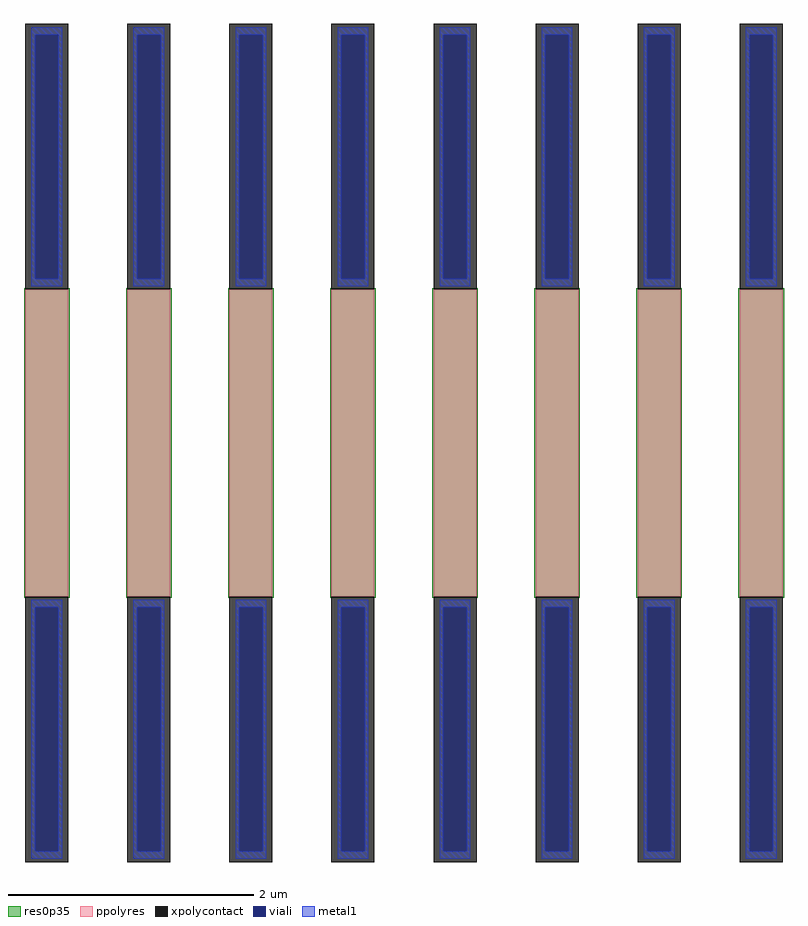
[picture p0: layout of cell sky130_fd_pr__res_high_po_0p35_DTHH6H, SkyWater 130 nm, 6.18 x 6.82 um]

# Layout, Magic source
magic
tech sky130A
magscale 1 2
<< xpolycontact >>
rect -616 250 -546 682
rect -616 -682 -546 -250
rect -450 250 -380 682
rect -450 -682 -380 -250
rect -284 250 -214 682
rect -284 -682 -214 -250
rect -118 250 -48 682
rect -118 -682 -48 -250
rect 48 250 118 682
rect 48 -682 118 -250
rect 214 250 284 682
rect 214 -682 284 -250
rect 380 250 450 682
rect 380 -682 450 -250
rect 546 250 616 682
rect 546 -682 616 -250
<< ppolyres >>
rect -616 -250 -546 250
rect -450 -250 -380 250
rect -284 -250 -214 250
rect -118 -250 -48 250
rect 48 -250 118 250
rect 214 -250 284 250
rect 380 -250 450 250
rect 546 -250 616 250
<< viali >>
rect -600 267 -562 664
rect -434 267 -396 664
rect -268 267 -230 664
rect -102 267 -64 664
rect 64 267 102 664
rect 230 267 268 664
rect 396 267 434 664
rect 562 267 600 664
rect -600 -664 -562 -267
rect -434 -664 -396 -267
rect -268 -664 -230 -267
rect -102 -664 -64 -267
rect 64 -664 102 -267
rect 230 -664 268 -267
rect 396 -664 434 -267
rect 562 -664 600 -267
<< metal1 >>
rect -606 664 -556 676
rect -606 267 -600 664
rect -562 267 -556 664
rect -606 255 -556 267
rect -440 664 -390 676
rect -440 267 -434 664
rect -396 267 -390 664
rect -440 255 -390 267
rect -274 664 -224 676
rect -274 267 -268 664
rect -230 267 -224 664
rect -274 255 -224 267
rect -108 664 -58 676
rect -108 267 -102 664
rect -64 267 -58 664
rect -108 255 -58 267
rect 58 664 108 676
rect 58 267 64 664
rect 102 267 108 664
rect 58 255 108 267
rect 224 664 274 676
rect 224 267 230 664
rect 268 267 274 664
rect 224 255 274 267
rect 390 664 440 676
rect 390 267 396 664
rect 434 267 440 664
rect 390 255 440 267
rect 556 664 606 676
rect 556 267 562 664
rect 600 267 606 664
rect 556 255 606 267
rect -606 -267 -556 -255
rect -606 -664 -600 -267
rect -562 -664 -556 -267
rect -606 -676 -556 -664
rect -440 -267 -390 -255
rect -440 -664 -434 -267
rect -396 -664 -390 -267
rect -440 -676 -390 -664
rect -274 -267 -224 -255
rect -274 -664 -268 -267
rect -230 -664 -224 -267
rect -274 -676 -224 -664
rect -108 -267 -58 -255
rect -108 -664 -102 -267
rect -64 -664 -58 -267
rect -108 -676 -58 -664
rect 58 -267 108 -255
rect 58 -664 64 -267
rect 102 -664 108 -267
rect 58 -676 108 -664
rect 224 -267 274 -255
rect 224 -664 230 -267
rect 268 -664 274 -267
rect 224 -676 274 -664
rect 390 -267 440 -255
rect 390 -664 396 -267
rect 434 -664 440 -267
rect 390 -676 440 -664
rect 556 -267 606 -255
rect 556 -664 562 -267
rect 600 -664 606 -267
rect 556 -676 606 -664
<< res0p35 >>
rect -618 -252 -544 252
rect -452 -252 -378 252
rect -286 -252 -212 252
rect -120 -252 -46 252
rect 46 -252 120 252
rect 212 -252 286 252
rect 378 -252 452 252
rect 544 -252 618 252
<< properties >>
string gencell sky130_fd_pr__res_high_po_0p35
string library sky130
string parameters w 0.35 l 2.5 m 1 nx 8 wmin 0.350 lmin 0.50 rho 319.8 val 3.397k dummy 0 dw 0.0 term 194.82 sterm 0.0 caplen 0 guard 0 glc 1 grc 1 gtc 1 gbc 1 compatible {sky130_fd_pr__res_high_po_0p35  sky130_fd_pr__res_high_po_0p69 sky130_fd_pr__res_high_po_1p41  sky130_fd_pr__res_high_po_2p85 sky130_fd_pr__res_high_po_5p73} snake 0 full_metal 1 wmax 0.350 vias 1 n_guard 0 hv_guard 0 viagb 0 viagt 0 viagl 0 viagr 0
<< end >>
